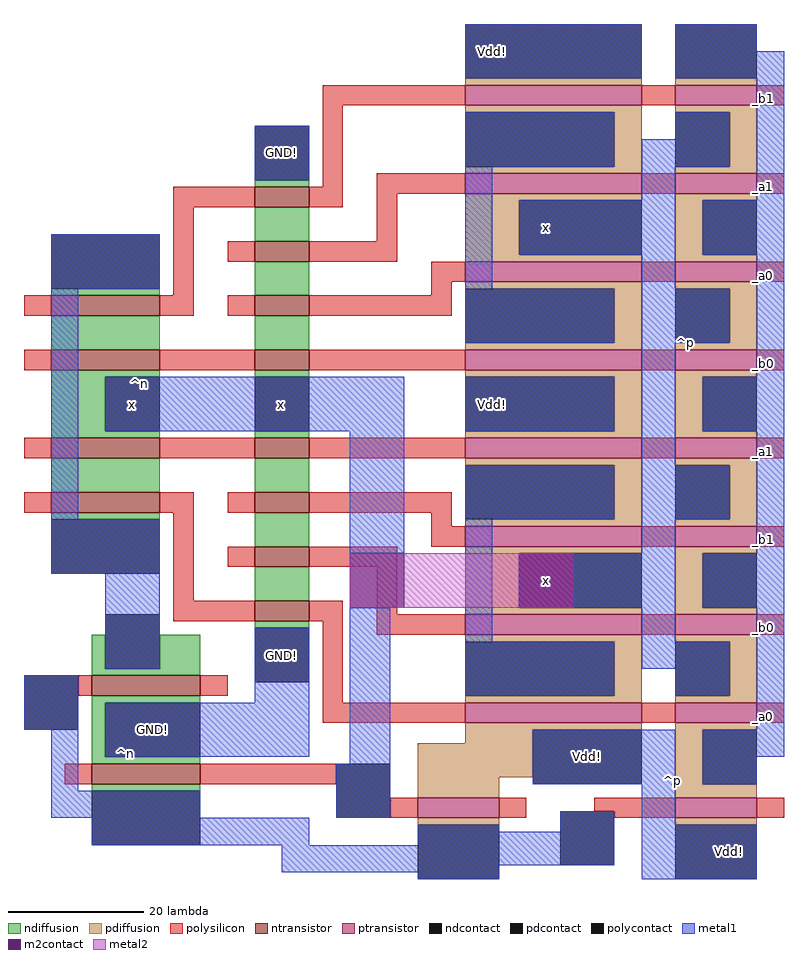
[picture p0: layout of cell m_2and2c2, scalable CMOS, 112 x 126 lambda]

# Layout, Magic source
magic
tech scmos
<< ndiffusion >>
rect 41 112 49 113
rect 11 96 27 97
rect 41 104 49 109
rect 41 96 49 101
rect 11 88 27 93
rect 41 88 49 93
rect 11 84 27 85
rect 11 76 19 84
rect 11 75 27 76
rect 41 84 49 85
rect 41 75 49 76
rect 11 67 27 72
rect 41 67 49 72
rect 11 63 27 64
rect 41 59 49 64
rect 41 51 49 56
rect 17 41 19 46
rect 41 47 49 48
rect 27 41 33 46
rect 17 40 33 41
rect 17 36 33 37
rect 17 28 19 36
rect 17 27 33 28
rect 17 23 33 24
<< pdiffusion >>
rect 72 127 98 128
rect 103 127 115 128
rect 72 123 98 124
rect 94 115 98 123
rect 72 114 98 115
rect 103 123 115 124
rect 111 115 115 123
rect 103 114 115 115
rect 72 110 98 111
rect 72 102 80 110
rect 72 101 98 102
rect 103 110 115 111
rect 103 102 107 110
rect 103 101 115 102
rect 72 97 98 98
rect 94 89 98 97
rect 72 88 98 89
rect 103 97 115 98
rect 111 89 115 97
rect 103 88 115 89
rect 72 84 98 85
rect 94 76 98 84
rect 72 75 98 76
rect 103 84 115 85
rect 103 76 107 84
rect 103 75 115 76
rect 72 71 98 72
rect 94 63 98 71
rect 72 62 98 63
rect 103 71 115 72
rect 111 63 115 71
rect 103 62 115 63
rect 72 58 98 59
rect 72 50 80 58
rect 72 49 98 50
rect 103 58 115 59
rect 103 50 107 58
rect 103 49 115 50
rect 72 45 98 46
rect 94 37 98 45
rect 72 36 98 37
rect 103 45 115 46
rect 111 37 115 45
rect 103 36 115 37
rect 72 32 98 33
rect 72 30 82 32
rect 65 25 82 30
rect 65 22 77 25
rect 103 32 115 33
rect 103 24 107 32
rect 103 22 115 24
rect 65 18 77 19
rect 103 18 115 19
<< ntransistor >>
rect 41 109 49 112
rect 41 101 49 104
rect 11 93 27 96
rect 41 93 49 96
rect 11 85 27 88
rect 41 85 49 88
rect 11 72 27 75
rect 41 72 49 75
rect 11 64 27 67
rect 41 64 49 67
rect 41 56 49 59
rect 41 48 49 51
rect 17 37 33 40
rect 17 24 33 27
<< ptransistor >>
rect 72 124 98 127
rect 103 124 115 127
rect 72 111 98 114
rect 103 111 115 114
rect 72 98 98 101
rect 103 98 115 101
rect 72 85 98 88
rect 103 85 115 88
rect 72 72 98 75
rect 103 72 115 75
rect 72 59 98 62
rect 103 59 115 62
rect 72 46 98 49
rect 103 46 115 49
rect 72 33 98 36
rect 103 33 115 36
rect 65 19 77 22
rect 103 19 115 22
<< polysilicon >>
rect 51 124 72 127
rect 98 124 103 127
rect 115 124 119 127
rect 51 112 54 124
rect 29 109 41 112
rect 49 109 54 112
rect 59 111 72 114
rect 98 111 103 114
rect 115 111 119 114
rect 29 96 32 109
rect 59 104 62 111
rect 37 101 41 104
rect 49 101 62 104
rect 67 98 72 101
rect 98 98 103 101
rect 115 98 119 101
rect 67 96 70 98
rect 7 93 11 96
rect 27 93 32 96
rect 37 93 41 96
rect 49 93 70 96
rect 7 85 11 88
rect 27 85 41 88
rect 49 85 72 88
rect 98 85 103 88
rect 115 85 119 88
rect 7 72 11 75
rect 27 72 41 75
rect 49 72 72 75
rect 98 72 103 75
rect 115 72 119 75
rect 7 64 11 67
rect 27 64 32 67
rect 37 64 41 67
rect 49 64 70 67
rect 29 51 32 64
rect 67 62 70 64
rect 67 59 72 62
rect 98 59 103 62
rect 115 59 119 62
rect 37 56 41 59
rect 49 56 62 59
rect 29 48 41 51
rect 49 48 54 51
rect 15 37 17 40
rect 33 37 37 40
rect 51 36 54 48
rect 59 49 62 56
rect 59 46 72 49
rect 98 46 103 49
rect 115 46 119 49
rect 51 33 72 36
rect 98 33 103 36
rect 115 33 119 36
rect 13 24 17 27
rect 33 24 53 27
rect 61 19 65 22
rect 77 19 81 22
rect 91 20 103 22
rect 94 19 103 20
rect 115 19 119 22
<< ndcontact >>
rect 41 113 49 121
rect 11 97 27 105
rect 19 76 27 84
rect 41 76 49 84
rect 11 55 27 63
rect 19 41 27 49
rect 41 39 49 47
rect 19 28 33 36
rect 17 15 33 23
<< pdcontact >>
rect 72 128 98 136
rect 103 128 115 136
rect 72 115 94 123
rect 103 115 111 123
rect 80 102 98 110
rect 107 102 115 110
rect 72 89 94 97
rect 103 89 111 97
rect 72 76 94 84
rect 107 76 115 84
rect 72 63 94 71
rect 103 63 111 71
rect 80 50 98 58
rect 107 50 115 58
rect 72 37 94 45
rect 103 37 111 45
rect 82 24 98 32
rect 107 24 115 32
rect 65 10 77 18
rect 103 10 115 18
<< polycontact >>
rect 7 32 15 40
rect 53 19 61 27
rect 86 12 94 20
<< metal1 >>
rect 72 128 98 136
rect 103 132 115 136
rect 103 128 119 132
rect 41 113 49 121
rect 72 115 94 123
rect 103 119 111 123
rect 98 115 111 119
rect 11 97 27 105
rect 72 97 76 115
rect 98 110 103 115
rect 115 110 119 128
rect 80 102 103 110
rect 107 102 119 110
rect 98 97 103 102
rect 11 63 15 97
rect 72 89 94 97
rect 98 89 111 97
rect 19 76 63 84
rect 72 76 94 84
rect 11 55 27 63
rect 19 41 27 55
rect 55 58 63 76
rect 98 71 103 89
rect 115 84 119 102
rect 107 76 119 84
rect 72 63 94 71
rect 98 63 111 71
rect 7 32 15 40
rect 41 36 49 47
rect 11 23 15 32
rect 19 28 49 36
rect 55 27 61 50
rect 72 45 76 63
rect 98 58 103 63
rect 115 58 119 76
rect 88 50 103 58
rect 107 50 119 58
rect 98 45 103 50
rect 72 37 94 45
rect 98 41 111 45
rect 103 37 111 41
rect 115 32 119 50
rect 11 19 33 23
rect 53 19 61 27
rect 82 24 103 32
rect 107 28 119 32
rect 107 24 115 28
rect 17 15 49 19
rect 65 17 77 18
rect 86 17 94 20
rect 65 15 94 17
rect 45 12 94 15
rect 98 18 103 24
rect 45 11 77 12
rect 65 10 77 11
rect 98 10 115 18
<< m2contact >>
rect 55 50 63 58
rect 80 50 88 58
<< metal2 >>
rect 55 50 88 58
<< labels >>
rlabel metal1 76 132 76 132 5 Vdd!
rlabel metal1 76 80 76 80 1 Vdd!
rlabel metal1 45 43 45 43 1 GND!
rlabel metal1 45 117 45 117 5 GND!
rlabel metal1 45 80 45 80 1 x
rlabel metal1 23 80 23 80 1 x
rlabel metal1 111 14 111 14 1 Vdd!
rlabel polysilicon 116 34 116 34 1 _a0
rlabel polysilicon 116 47 116 47 1 _b0
rlabel polysilicon 116 60 116 60 1 _b1
rlabel polysilicon 116 73 116 73 1 _a1
rlabel polysilicon 116 86 116 86 1 _b0
rlabel polysilicon 116 99 116 99 1 _a0
rlabel polysilicon 116 112 116 112 1 _a1
rlabel polysilicon 116 125 116 125 1 _b1
rlabel metal1 90 28 90 28 1 Vdd!
rlabel metal1 26 32 26 32 1 GND!
rlabel m2contact 84 54 84 54 5 x
rlabel metal1 84 106 84 106 1 x
rlabel space 85 9 120 40 3 ^p
rlabel space 89 41 120 137 3 ^p
rlabel space 6 44 42 122 7 ^n
rlabel space 6 14 38 43 7 ^n
<< end >>
